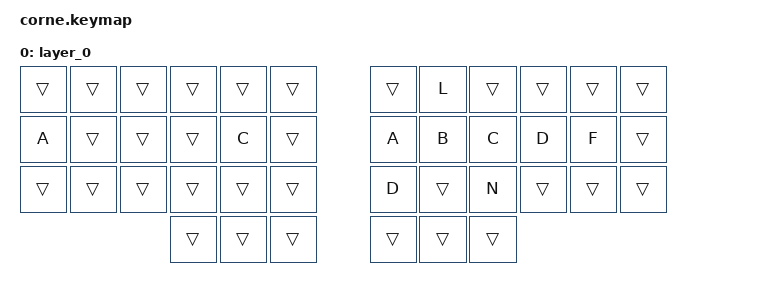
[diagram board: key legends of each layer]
#include <behaviors.dtsi>
#include <dt-bindings/zmk/keys.h>

/ {
    keymap {
        compatible = "zmk,keymap";

        layer_0 {
            bindings = <
&trans  &trans  &trans  &trans  &trans  &trans    &trans  &kp L   &trans  &trans  &trans  &trans
&kp A   &trans  &trans  &trans  &kp C   &trans    &kp A   &kp B   &kp C   &kp D   &kp F   &trans
&trans  &trans  &trans  &trans  &trans  &trans    &kp D   &trans  &kp N   &trans  &trans  &trans
                        &trans  &trans  &trans    &trans  &trans  &trans
            >;
        };
    };
};
